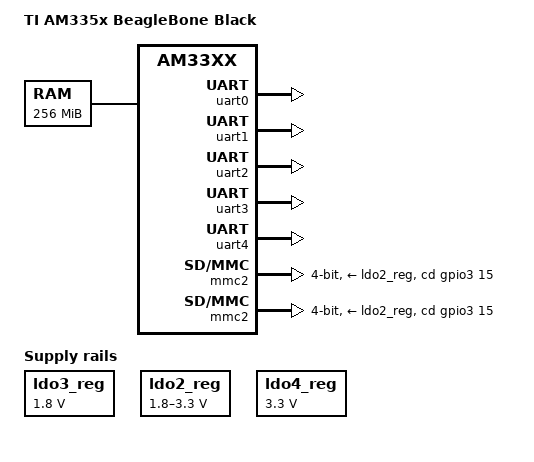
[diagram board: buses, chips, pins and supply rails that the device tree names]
/*
 * Copyright (C) 2012 Texas Instruments Incorporated - http://www.ti.com/
 *
 * This program is free software; you can redistribute it and/or modify
 * it under the terms of the GNU General Public License version 2 as
 * published by the Free Software Foundation.
 */
/dts-v1/;

#include "am33xx.dtsi"
#include "am335x-myhomebox4-common.dtsi"

/ {
	model = "TI AM335x BeagleBone Black";
	compatible = "ti,am335x-bone-black", "ti,am335x-bone", "ti,am33xx";

	cpus {
		cpu@0 {
			cpu0-supply = <&dcdc2_reg>;
		};
	};

	memory {
		device_type = "memory";
		reg = <0x80000000 0x10000000>; /* 256 MB */
	};

	ocp: ocp {

		uart0: serial@44e09000 {
			status = "okay";
		};

		uart1: serial@48022000 {
			status = "okay";
		};

		uart2: serial@48024000 {
			status = "okay";
		};

		uart3: serial@481a6000 {
			status = "okay";
		};

		uart4: serial@481a8000 {
			status = "okay";
		};
	
	};

	mmc2 {
		pinctrl-names = "default";
		pinctrl-0 = <&mmc2_pins>;
		bus-width = <0x4>;
		cd-gpios = <&gpio3 15 1>; /* gpio1 is misnamed, 0 == GPIO_ACTIVE_HIGH */
		cd-inverted;
		status = "okay";
		vmmc-supply = <&ldo2_reg>;
		ti,vcc-aux-disable-is-sleep;
	};


};

&ldo3_reg{
		regulator-min-microvolt = <1800000>;
		regulator-max-microvolt = <1800000>;
		regulator-always-on;
};

&ldo2_reg{
		regulator-min-microvolt = <1800000>;
		regulator-max-microvolt = <3300000>;
		regulator-always-on;
};

&ldo4_reg{
		regulator-min-microvolt = <3300000>;
		regulator-max-microvolt = <3300000>;
		regulator-always-on;
};



&mmc2 {
	pinctrl-names = "default";
	pinctrl-0 = <&mmc2_pins>;
	bus-width = <0x4>;
	cd-gpios = <&gpio3 15 1>; /* gpio1 is misnamed, 0 == GPIO_ACTIVE_HIGH */
	cd-inverted;
	status = "okay";
	vmmc-supply = <&ldo2_reg>;
	ti,vcc-aux-disable-is-sleep;
};
